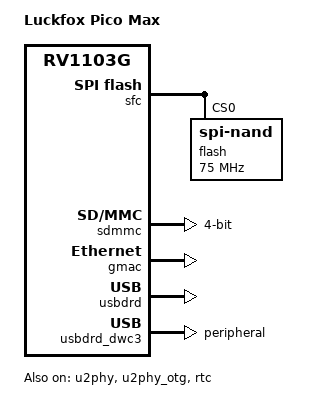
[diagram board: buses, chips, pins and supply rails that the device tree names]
// SPDX-License-Identifier: (GPL-2.0+ OR MIT)
/*
 * Copyright (c) 2022 Rockchip Electronics Co., Ltd.
 */

/dts-v1/;

#include "rv1106.dtsi"
#include "rv1106-evb.dtsi"
#include "rv1106-luckfox-pico-pro-max-ipc.dtsi"

/ {
	model = "Luckfox Pico Max";
	compatible = "rockchip,rv1103g-38x38-ipc-v10", "rockchip,rv1106g3";
};

/**********CRU**********/
//&cru {
//	assigned-clocks =
//		<&cru PLL_GPLL>, <&cru PLL_CPLL>,
//		<&cru ARMCLK>,
//		<&cru ACLK_PERI_ROOT>, <&cru HCLK_PERI_ROOT>,
//		<&cru PCLK_PERI_ROOT>, <&cru ACLK_BUS_ROOT>,
//		<&cru PCLK_TOP_ROOT>, <&cru PCLK_PMU_ROOT>,
//		<&cru HCLK_PMU_ROOT>, <&cru CLK_500M_SRC>;
//	assigned-clock-rates =
//		<1188000000>, <700000000>,
//		<1104000000>,
//		<400000000>, <200000000>,
//		<100000000>, <300000000>,
//		<100000000>, <100000000>,
//		<200000000>, <700000000>;
//};

/**********NPU**********/
//&npu {
//	assigned-clock-rates = <700000000>;
//};

/**********FLASH**********/
&sfc {
	status = "okay";
	flash@0 {
		compatible = "spi-nand";
		reg = <0>;
		spi-max-frequency = <75000000>;
		spi-rx-bus-width = <4>;
		spi-tx-bus-width = <1>;
	};
};

/**********SDMMC**********/
&sdmmc {
	max-frequency = <50000000>;
	no-sdio;
	no-mmc;
	bus-width = <4>;
	cap-mmc-highspeed;
	cap-sd-highspeed;
	disable-wp;
	pinctrl-names = "default";
	pinctrl-0 = <&sdmmc0_clk &sdmmc0_cmd &sdmmc0_det &sdmmc0_bus4>;
	status = "okay";
};

/**********ETH**********/
&gmac {
	status = "okay";
};

/**********USB**********/
&u2phy {
	status = "okay";
};

&u2phy_otg {
	rockchip,dis-u2-susphy;
	status = "okay";
};

&usbdrd {
	status = "okay";
};

&usbdrd_dwc3 {
	status = "okay";
	dr_mode = "peripheral";
};

/**********SPI**********/
&spi0 {
	status = "disabled";
	spidev@0 {
		spi-max-frequency = <50000000>;
	};
  fbtft@0 {
		spi-max-frequency = <50000000>;
  };
};

/**********I2C**********/
/* I2C3_M1 */
&i2c3 {
	status = "disabled";
	clock-frequency = <100000>;
};

/* I2C1_M1 */
&i2c1 {
	status = "disabled";
	clock-frequency = <100000>;
};


/**********UART**********/
/* UART3_M1 */
&uart3 {
	status = "disabled";
};

/* UART4_M1 */
&uart4 {
	status = "disabled";
};

/**********RTC**********/
&rtc {
	status = "okay";
};
